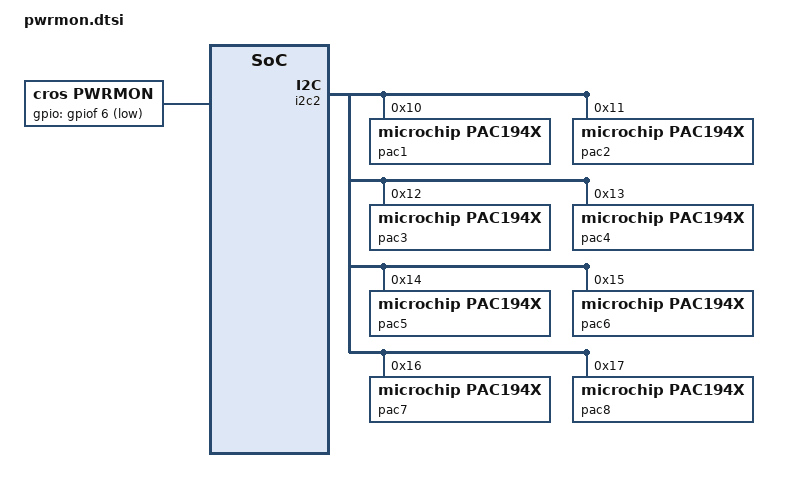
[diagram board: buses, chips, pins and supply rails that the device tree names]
/* Copyright 2026 The ChromiumOS Authors
 * Use of this source code is governed by a BSD-style license that can be
 * found in the LICENSE file.
 */

#include <zephyr/dt-bindings/sensor/pac194x.h>

/ {
	pwrmon: pwrmon {
		compatible = "cros,pwrmon";
		power-monitors = <&pac1>, <&pac2>, <&pac3>, <&pac4>,
				 <&pac5>, <&pac6>, <&pac7>, <&pac8>;
		sample-rate = <1024>;
		gpios = <&gpiof 6 (GPIO_ACTIVE_LOW | GPIO_OPEN_DRAIN)>;
		zephyr,deferred-init;
	};
};

&i2c2 {
	pac1: pac1954@10 {
		compatible = "microchip,pac194x";
		reg = <0x10>;
		status = "okay";
		#address-cells = <1>;
		#size-cells = <0>;
		microchip,refresh-mode = <PAC_REFRESH_MANUAL>;
		zephyr,deferred-init;

		/* VREG_L5B_0P752 (RS4506: 10 mOhm) */
		channel@1 {
			reg = <0x1>;
			friendly-name = "VREG_L5B_0P752";
			microchip,shunt-resistor-micro-ohms = <10000>;
			microchip,vbus-mode = <PAC_BIPOLAR_HALF_FSR>;
			microchip,vsense-mode = <PAC_BIPOLAR_HALF_FSR>;
			microchip,accumulation-mode = <PAC_ACCUM_VPOWER>;
		};
		/* PPVAR_SYS (R3131: 10 mOhm) */
		channel@2 {
			reg = <0x2>;
			friendly-name = "PPVAR_SYS";
			microchip,shunt-resistor-micro-ohms = <10000>;
			microchip,vbus-mode = <PAC_BIPOLAR_HALF_FSR>;
			microchip,vsense-mode = <PAC_BIPOLAR_HALF_FSR>;
			microchip,accumulation-mode = <PAC_ACCUM_VPOWER>;
		};
		/* PPVAR_BATT_DISCHG (R3508: 10 mOhm) */
		channel@3 {
			reg = <0x3>;
			friendly-name = "PPVAR_BATT_DISCHG";
			microchip,shunt-resistor-micro-ohms = <10000>;
			microchip,vbus-mode = <PAC_BIPOLAR_HALF_FSR>;
			microchip,vsense-mode = <PAC_BIPOLAR_HALF_FSR>;
			microchip,accumulation-mode = <PAC_ACCUM_VPOWER>;
		};
		/* PP3300_WLAN (R5547: 20 mOhm) */
		channel@4 {
			reg = <0x4>;
			friendly-name = "PP3300_WLAN";
			microchip,shunt-resistor-micro-ohms = <20000>;
			microchip,vbus-mode = <PAC_BIPOLAR_HALF_FSR>;
			microchip,vsense-mode = <PAC_BIPOLAR_HALF_FSR>;
			microchip,accumulation-mode = <PAC_ACCUM_VPOWER>;
		};
	};

	pac2: pac1954@11 {
		compatible = "microchip,pac194x";
		reg = <0x11>;
		status = "okay";
		#address-cells = <1>;
		#size-cells = <0>;
		microchip,refresh-mode = <PAC_REFRESH_MANUAL>;
		zephyr,deferred-init;

		/* PP5000_Z1 (R3310: 10 mOhm, R3311: ns) */
		channel@1 {
			reg = <0x1>;
			friendly-name = "PP5000_Z1";
			microchip,shunt-resistor-micro-ohms = <10000>;
			microchip,vbus-mode = <PAC_BIPOLAR_HALF_FSR>;
			microchip,vsense-mode = <PAC_BIPOLAR_HALF_FSR>;
			microchip,accumulation-mode = <PAC_ACCUM_VPOWER>;
		};
		/* PP5000_SPKR_L (RS8601: 20 mOhm) */
		channel@2 {
			reg = <0x2>;
			friendly-name = "PP5000_SPKR_L";
			microchip,shunt-resistor-micro-ohms = <20000>;
			microchip,vbus-mode = <PAC_BIPOLAR_HALF_FSR>;
			microchip,vsense-mode = <PAC_BIPOLAR_HALF_FSR>;
			microchip,accumulation-mode = <PAC_ACCUM_VPOWER>;
		};
		/* PP3300_PDC (RS6201: 20 mOhm) */
		channel@3 {
			reg = <0x3>;
			friendly-name = "PP3300_PDC";
			microchip,shunt-resistor-micro-ohms = <20000>;
			microchip,vbus-mode = <PAC_BIPOLAR_HALF_FSR>;
			microchip,vsense-mode = <PAC_BIPOLAR_HALF_FSR>;
			microchip,accumulation-mode = <PAC_ACCUM_VPOWER>;
		};
		/* PP5000_HUB (RS9701: 20 mOhm) */
		channel@4 {
			reg = <0x4>;
			friendly-name = "PP5000_HUB";
			microchip,shunt-resistor-micro-ohms = <20000>;
			microchip,vbus-mode = <PAC_BIPOLAR_HALF_FSR>;
			microchip,vsense-mode = <PAC_BIPOLAR_HALF_FSR>;
			microchip,accumulation-mode = <PAC_ACCUM_VPOWER>;
		};
	};

	pac3: pac1954@12 {
		compatible = "microchip,pac194x";
		reg = <0x12>;
		status = "okay";
		#address-cells = <1>;
		#size-cells = <0>;
		microchip,refresh-mode = <PAC_REFRESH_MANUAL>;
		zephyr,deferred-init;

		/* PP3300_Z1 (R203: 10 mOhm) */
		channel@1 {
			reg = <0x1>;
			friendly-name = "PP3300_Z1";
			microchip,shunt-resistor-micro-ohms = <10000>;
			microchip,vbus-mode = <PAC_BIPOLAR_HALF_FSR>;
			microchip,vsense-mode = <PAC_BIPOLAR_HALF_FSR>;
			microchip,accumulation-mode = <PAC_ACCUM_VPOWER>;
		};
		/* PP3300_GSC_Z1 (RS8302: 20 mOhm) */
		channel@2 {
			reg = <0x2>;
			friendly-name = "PP3300_GSC_Z1";
			microchip,shunt-resistor-micro-ohms = <20000>;
			microchip,vbus-mode = <PAC_BIPOLAR_HALF_FSR>;
			microchip,vsense-mode = <PAC_BIPOLAR_HALF_FSR>;
			microchip,accumulation-mode = <PAC_ACCUM_VPOWER>;
		};
		/* VPH_PWR (R5119: 2 mOhm, R5118: ns) */
		channel@3 {
			reg = <0x3>;
			friendly-name = "VPH_PWR";
			microchip,shunt-resistor-micro-ohms = <2000>;
			microchip,vbus-mode = <PAC_BIPOLAR_HALF_FSR>;
			microchip,vsense-mode = <PAC_BIPOLAR_HALF_FSR>;
			microchip,accumulation-mode = <PAC_ACCUM_VPOWER>;
		};
		/* PPVAR_VBUS_IN (R3126: 10 mOhm) */
		channel@4 {
			reg = <0x4>;
			friendly-name = "PPVAR_VBUS_IN";
			microchip,shunt-resistor-micro-ohms = <10000>;
			microchip,vbus-mode = <PAC_BIPOLAR_HALF_FSR>;
			microchip,vsense-mode = <PAC_BIPOLAR_HALF_FSR>;
			microchip,accumulation-mode = <PAC_ACCUM_VPOWER>;
		};
	};

	pac4: pac1954@13 {
		compatible = "microchip,pac194x";
		reg = <0x13>;
		status = "okay";
		#address-cells = <1>;
		#size-cells = <0>;
		microchip,refresh-mode = <PAC_REFRESH_MANUAL>;
		zephyr,deferred-init;

		/* VREG_S2B_0P876 (R4301: 2 mOhm) */
		channel@1 {
			reg = <0x1>;
			friendly-name = "VREG_S2B_0P876";
			microchip,shunt-resistor-micro-ohms = <2000>;
			microchip,vbus-mode = <PAC_BIPOLAR_HALF_FSR>;
			microchip,vsense-mode = <PAC_BIPOLAR_HALF_FSR>;
			microchip,accumulation-mode = <PAC_ACCUM_VPOWER>;
		};
		/* PP3300_UCAM (RS5901: 20 mOhm) */
		channel@2 {
			reg = <0x2>;
			friendly-name = "PP3300_UCAM";
			microchip,shunt-resistor-micro-ohms = <20000>;
			microchip,vbus-mode = <PAC_BIPOLAR_HALF_FSR>;
			microchip,vsense-mode = <PAC_BIPOLAR_HALF_FSR>;
			microchip,accumulation-mode = <PAC_ACCUM_VPOWER>;
		};
		/* VREG_S3B_S4B_S5B_0P752 (R4401: 2 mOhm) */
		channel@3 {
			reg = <0x3>;
			friendly-name = "VREG_S3B_S4B_S5B_0P752";
			microchip,shunt-resistor-micro-ohms = <2000>;
			microchip,vbus-mode = <PAC_BIPOLAR_HALF_FSR>;
			microchip,vsense-mode = <PAC_BIPOLAR_HALF_FSR>;
			microchip,accumulation-mode = <PAC_ACCUM_VPOWER>;
		};
		/* PP3300_REDRIVER (RS6401: 20 mOhm) */
		channel@4 {
			reg = <0x4>;
			friendly-name = "PP3300_REDRIVER";
			microchip,shunt-resistor-micro-ohms = <20000>;
			microchip,vbus-mode = <PAC_BIPOLAR_HALF_FSR>;
			microchip,vsense-mode = <PAC_BIPOLAR_HALF_FSR>;
			microchip,accumulation-mode = <PAC_ACCUM_VPOWER>;
		};
	};

	pac5: pac1954@14 {
		compatible = "microchip,pac194x";
		reg = <0x14>;
		status = "okay";
		#address-cells = <1>;
		#size-cells = <0>;
		microchip,refresh-mode = <PAC_REFRESH_MANUAL>;
		zephyr,deferred-init;

		/* PP3300_EDP (RS5902: 10 mOhm) */
		channel@1 {
			reg = <0x1>;
			friendly-name = "PP3300_EDP";
			microchip,shunt-resistor-micro-ohms = <10000>;
			microchip,vbus-mode = <PAC_BIPOLAR_HALF_FSR>;
			microchip,vsense-mode = <PAC_BIPOLAR_HALF_FSR>;
			microchip,accumulation-mode = <PAC_ACCUM_VPOWER>;
		};
		/* PP3300_TCHSCR (RS5903: 20 mOhm) */
		channel@2 {
			reg = <0x2>;
			friendly-name = "PP3300_TCHSCR";
			microchip,shunt-resistor-micro-ohms = <20000>;
			microchip,vbus-mode = <PAC_BIPOLAR_HALF_FSR>;
			microchip,vsense-mode = <PAC_BIPOLAR_HALF_FSR>;
			microchip,accumulation-mode = <PAC_ACCUM_VPOWER>;
		};
		/* PP3300_TCHPAD (RS7901: 20 mOhm) */
		channel@3 {
			reg = <0x3>;
			friendly-name = "PP3300_TCHPAD";
			microchip,shunt-resistor-micro-ohms = <20000>;
			microchip,vbus-mode = <PAC_BIPOLAR_HALF_FSR>;
			microchip,vsense-mode = <PAC_BIPOLAR_HALF_FSR>;
			microchip,accumulation-mode = <PAC_ACCUM_VPOWER>;
		};
		/* PP3300_EC_Z1 (RS8202: 20 mOhm) */
		channel@4 {
			reg = <0x4>;
			friendly-name = "PP3300_EC_Z1";
			microchip,shunt-resistor-micro-ohms = <20000>;
			microchip,vbus-mode = <PAC_BIPOLAR_HALF_FSR>;
			microchip,vsense-mode = <PAC_BIPOLAR_HALF_FSR>;
			microchip,accumulation-mode = <PAC_ACCUM_VPOWER>;
		};
	};

	pac6: pac1954@15 {
		compatible = "microchip,pac194x";
		reg = <0x15>;
		status = "okay";
		#address-cells = <1>;
		#size-cells = <0>;
		microchip,refresh-mode = <PAC_REFRESH_MANUAL>;
		zephyr,deferred-init;

		/* VREG_S6C_S7C_S8C_0P752 (R4003: 2 mOhm) */
		channel@1 {
			reg = <0x1>;
			friendly-name = "VREG_S6C_S7C_S8C_0P752";
			microchip,shunt-resistor-micro-ohms = <2000>;
			microchip,vbus-mode = <PAC_BIPOLAR_HALF_FSR>;
			microchip,vsense-mode = <PAC_BIPOLAR_HALF_FSR>;
			microchip,accumulation-mode = <PAC_ACCUM_VPOWER>;
		};
		/* VREG_S9C (R4001: 2 mOhm) */
		channel@2 {
			reg = <0x2>;
			friendly-name = "VREG_S9C";
			microchip,shunt-resistor-micro-ohms = <2000>;
			microchip,vbus-mode = <PAC_BIPOLAR_HALF_FSR>;
			microchip,vsense-mode = <PAC_BIPOLAR_HALF_FSR>;
			microchip,accumulation-mode = <PAC_ACCUM_VPOWER>;
		};
		/* VREG_S10C_0P752 (R4004: 2 mOhm) */
		channel@3 {
			reg = <0x3>;
			friendly-name = "VREG_S10C_0P752";
			microchip,shunt-resistor-micro-ohms = <2000>;
			microchip,vbus-mode = <PAC_BIPOLAR_HALF_FSR>;
			microchip,vsense-mode = <PAC_BIPOLAR_HALF_FSR>;
			microchip,accumulation-mode = <PAC_ACCUM_VPOWER>;
		};
		/* VREG_S2C_S3C_S4C_0P752 (R3901: 2 mOhm) */
		channel@4 {
			reg = <0x4>;
			friendly-name = "VREG_S2C_S3C_S4C_0P752";
			microchip,shunt-resistor-micro-ohms = <2000>;
			microchip,vbus-mode = <PAC_BIPOLAR_HALF_FSR>;
			microchip,vsense-mode = <PAC_BIPOLAR_HALF_FSR>;
			microchip,accumulation-mode = <PAC_ACCUM_VPOWER>;
		};
	};

	pac7: pac1954@16 {
		compatible = "microchip,pac194x";
		reg = <0x16>;
		status = "okay";
		#address-cells = <1>;
		#size-cells = <0>;
		microchip,refresh-mode = <PAC_REFRESH_MANUAL>;
		zephyr,deferred-init;

		/* PPVAR_EDP_BL (RS5904: 10 mOhm) */
		channel@1 {
			reg = <0x1>;
			friendly-name = "PPVAR_EDP_BL";
			microchip,shunt-resistor-micro-ohms = <10000>;
			microchip,vbus-mode = <PAC_BIPOLAR_HALF_FSR>;
			microchip,vsense-mode = <PAC_BIPOLAR_HALF_FSR>;
			microchip,accumulation-mode = <PAC_ACCUM_VPOWER>;
		};
		/* VREG_L8B_0P904 (RS4503: 10 mOhm) */
		channel@2 {
			reg = <0x2>;
			friendly-name = "VREG_L8B_0P904";
			microchip,shunt-resistor-micro-ohms = <10000>;
			microchip,vbus-mode = <PAC_BIPOLAR_HALF_FSR>;
			microchip,vsense-mode = <PAC_BIPOLAR_HALF_FSR>;
			microchip,accumulation-mode = <PAC_ACCUM_VPOWER>;
		};
		/* PP5000_SPKR_R (RS9801: 20 mOhm) */
		channel@3 {
			reg = <0x3>;
			friendly-name = "PP5000_SPKR_R";
			microchip,shunt-resistor-micro-ohms = <20000>;
			microchip,vbus-mode = <PAC_BIPOLAR_HALF_FSR>;
			microchip,vsense-mode = <PAC_BIPOLAR_HALF_FSR>;
			microchip,accumulation-mode = <PAC_ACCUM_VPOWER>;
		};
		/* VREG_S6B_0P752 (R4402: 2 mOhm) */
		channel@4 {
			reg = <0x4>;
			friendly-name = "VREG_S6B_0P752";
			microchip,shunt-resistor-micro-ohms = <2000>;
			microchip,vbus-mode = <PAC_BIPOLAR_HALF_FSR>;
			microchip,vsense-mode = <PAC_BIPOLAR_HALF_FSR>;
			microchip,accumulation-mode = <PAC_ACCUM_VPOWER>;
		};
	};

	pac8: pac1954@17 {
		compatible = "microchip,pac194x";
		reg = <0x17>;
		status = "okay";
		#address-cells = <1>;
		#size-cells = <0>;
		microchip,refresh-mode = <PAC_REFRESH_MANUAL>;
		zephyr,deferred-init;

		/* VREG_L7B_2P5 (RS4501: 10 mOhm) */
		channel@1 {
			reg = <0x1>;
			friendly-name = "VREG_L7B_2P5";
			microchip,shunt-resistor-micro-ohms = <10000>;
			microchip,vbus-mode = <PAC_BIPOLAR_HALF_FSR>;
			microchip,vsense-mode = <PAC_BIPOLAR_HALF_FSR>;
			microchip,accumulation-mode = <PAC_ACCUM_VPOWER>;
		};
		/* VREG_L3B_0P504 (RS4504: 10 mOhm) */
		channel@2 {
			reg = <0x2>;
			friendly-name = "VREG_L3B_0P504";
			microchip,shunt-resistor-micro-ohms = <10000>;
			microchip,vbus-mode = <PAC_BIPOLAR_HALF_FSR>;
			microchip,vsense-mode = <PAC_BIPOLAR_HALF_FSR>;
			microchip,accumulation-mode = <PAC_ACCUM_VPOWER>;
		};
		/* VREG_L9B_1P2 (RS4502: 10 mOhm) */
		channel@3 {
			reg = <0x3>;
			friendly-name = "VREG_L9B_1P2";
			microchip,shunt-resistor-micro-ohms = <10000>;
			microchip,vbus-mode = <PAC_BIPOLAR_HALF_FSR>;
			microchip,vsense-mode = <PAC_BIPOLAR_HALF_FSR>;
			microchip,accumulation-mode = <PAC_ACCUM_VPOWER>;
		};
		/* VREG_L18B_1P8_DDR (R2701: 20 mOhm) */
		channel@4 {
			reg = <0x4>;
			friendly-name = "VREG_L18B_1P8_DDR";
			microchip,shunt-resistor-micro-ohms = <20000>;
			microchip,vbus-mode = <PAC_BIPOLAR_HALF_FSR>;
			microchip,vsense-mode = <PAC_BIPOLAR_HALF_FSR>;
			microchip,accumulation-mode = <PAC_ACCUM_VPOWER>;
		};
	};
};
